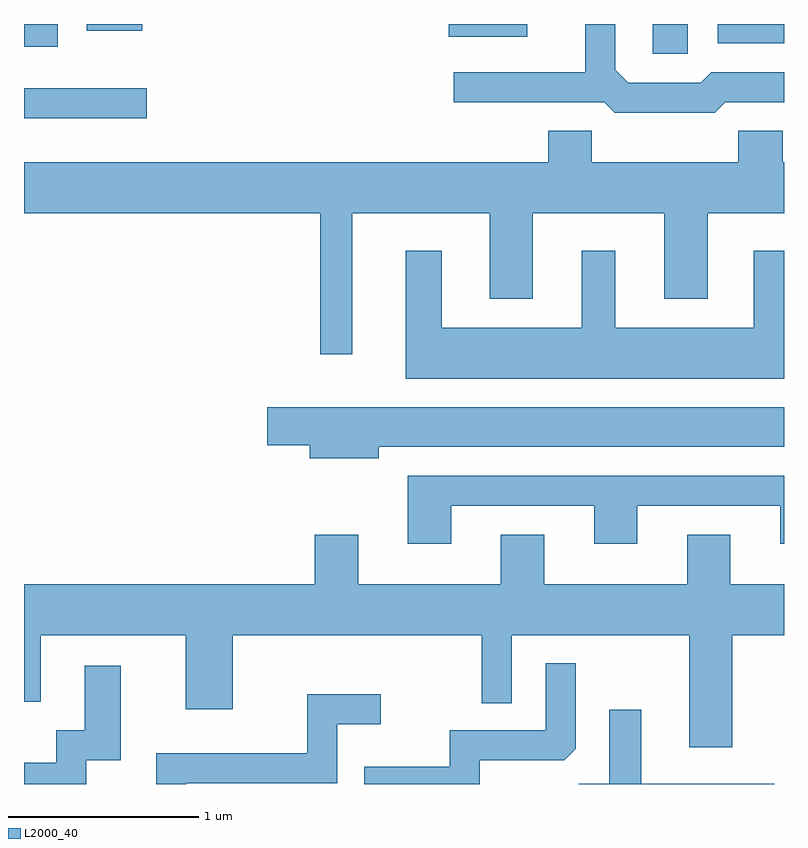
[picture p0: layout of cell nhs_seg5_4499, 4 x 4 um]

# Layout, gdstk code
import gdstk
lib = gdstk.Library(unit=1e-6, precision=1e-09)
def R(c, l, rs):  # rectangles x0, y0, x1, y1
    for r in rs: c.add(gdstk.rectangle(r[:2], r[2:], *l))
def P(c, l, *ps):  # polygons
    for p in ps: c.add(gdstk.Polygon(p, *l))
L2000_40 = (2000, 40)

nhs_seg5_4499 = lib.new_cell('nhs_seg5_4499')
R(nhs_seg5_4499, L2000_40, [(319.611,1399.576,320.258,1399.734), (322.921,1399.916,323.104,1400.072), (319.611,1399.951,319.789,1400.072), (323.261,1399.971,323.611,1400.072), (321.846,1400.006,322.259,1400.072), (319.941,1400.036,320.234,1400.072)])
P(nhs_seg5_4499, L2000_40, [(323.302,1399.661),(323.611,1399.661),(323.611,1399.819),(323.229,1399.819),(323.174,1399.764),(322.792,1399.764),(322.724,1399.832),(322.724,1400.072),(322.566,1400.072),(322.566,1399.819),(321.873,1399.819),(321.873,1399.661),(322.664,1399.661),(322.719,1399.606),(323.247,1399.606)],
  [(321.339,1399.076),(322.061,1399.076),(322.061,1398.626),(322.289,1398.626),(322.289,1399.076),(322.981,1399.076),(322.981,1398.626),(323.209,1398.626),(323.209,1399.076),(323.611,1399.076),(323.611,1399.344),(323.604,1399.344),(323.604,1399.509),(323.371,1399.509),(323.371,1399.344),(322.599,1399.344),(322.599,1399.509),(322.371,1399.509),(322.371,1399.344),(319.611,1399.344),(319.611,1399.076),(321.171,1399.076),(321.171,1398.333),(321.339,1398.333)],
  [(323.611,1398.879),(323.451,1398.879),(323.451,1398.474),(322.724,1398.474),(322.724,1398.879),(322.546,1398.879),(322.546,1398.474),(321.809,1398.474),(321.809,1398.879),(321.621,1398.879),(321.621,1398.206),(323.611,1398.206)],
  [(321.479,1397.846),(323.611,1397.846),(323.611,1398.054),(320.891,1398.054),(320.891,1397.856),(321.116,1397.856),(321.116,1397.786),(321.479,1397.786)],
  [(321.859,1397.536),(322.611,1397.536),(322.611,1397.336),(322.839,1397.336),(322.839,1397.536),(323.591,1397.536),(323.591,1397.336),(323.611,1397.336),(323.611,1397.694),(321.631,1397.694),(321.631,1397.336),(321.859,1397.336)],
  [(323.339,1396.856),(323.611,1396.856),(323.611,1397.124),(323.329,1397.124),(323.329,1397.384),(323.101,1397.384),(323.101,1397.124),(322.349,1397.124),(322.349,1397.384),(322.121,1397.384),(322.121,1397.124),(321.369,1397.124),(321.369,1397.384),(321.141,1397.384),(321.141,1397.124),(319.611,1397.124),(319.611,1396.506),(319.699,1396.506),(319.699,1396.856),(320.461,1396.856),(320.461,1396.466),(320.709,1396.466),(320.709,1396.856),(322.021,1396.856),(322.021,1396.498),(322.179,1396.498),(322.179,1396.856),(323.111,1396.856),(323.111,1396.266),(323.339,1396.266)],
  [(322.009,1396.196),(322.454,1396.196),(322.514,1396.257),(322.514,1396.708),(322.356,1396.708),(322.356,1396.354),(321.851,1396.354),(321.851,1396.164),(321.403,1396.164),(321.403,1396.072),(322.009,1396.072)],
  [(319.939,1396.196),(320.119,1396.196),(320.119,1396.694),(319.931,1396.694),(319.931,1396.354),(319.781,1396.354),(319.781,1396.184),(319.611,1396.184),(319.611,1396.072),(319.939,1396.072)],
  [(320.464,1396.076),(321.259,1396.076),(321.259,1396.386),(321.488,1396.386),(321.488,1396.544),(321.101,1396.544),(321.101,1396.234),(320.306,1396.234),(320.306,1396.072),(320.464,1396.072)],
  [(323.559,1396.074),(322.859,1396.074),(322.859,1396.463),(322.691,1396.463),(322.691,1396.074),(322.531,1396.074),(322.531,1396.072),(323.559,1396.072)])

lib.write_gds('nhs_seg5_4499.gds')
